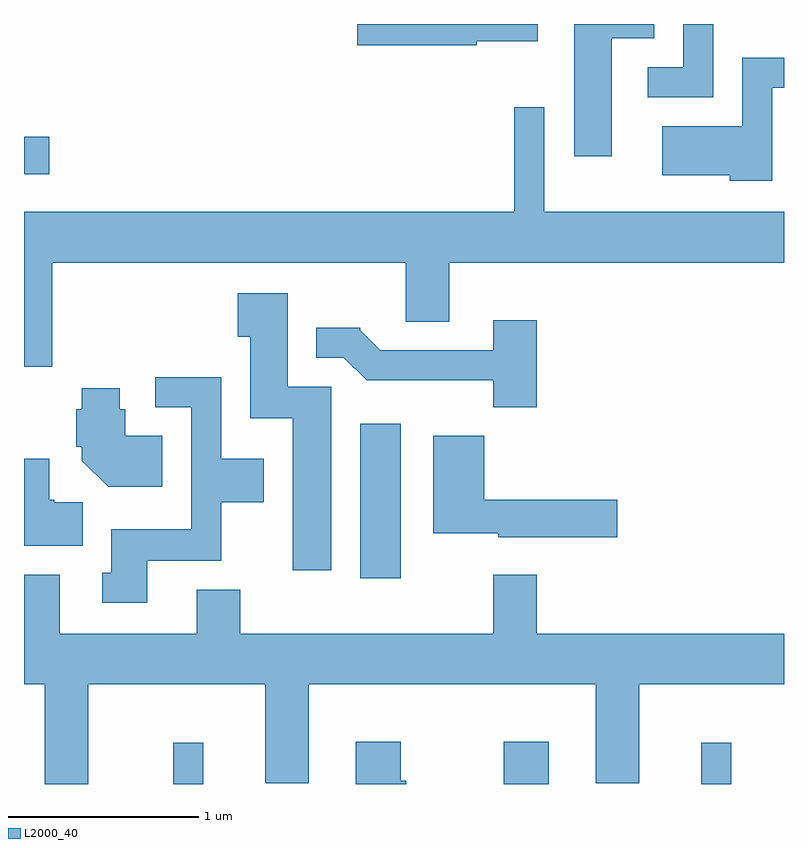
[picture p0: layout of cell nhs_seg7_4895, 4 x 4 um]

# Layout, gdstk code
import gdstk
lib = gdstk.Library(unit=1e-6, precision=1e-09)
def R(c, l, rs):  # rectangles x0, y0, x1, y1
    for r in rs: c.add(gdstk.rectangle(r[:2], r[2:], *l))
def P(c, l, *ps):  # polygons
    for p in ps: c.add(gdstk.Polygon(p, *l))
L2000_40 = (2000, 40)

nhs_seg7_4895 = lib.new_cell('nhs_seg7_4895')
R(nhs_seg7_4895, L2000_40, [(336.396,1698.252,336.554,1698.468), (338.136,1698.252,338.374,1698.474), (339.176,1698.252,339.334,1698.468), (337.381,1699.336,337.594,1700.149), (335.611,1701.461,335.744,1701.659)])
P(nhs_seg7_4895, L2000_40, [(338.704,1702.176),(338.929,1702.176),(338.929,1702.252),(338.506,1702.252),(338.506,1701.556),(338.704,1701.556)],
  [(337.994,1702.161),(338.314,1702.161),(338.314,1702.252),(337.366,1702.252),(337.366,1702.141),(337.994,1702.141)],
  [(339.239,1702.252),(339.081,1702.252),(339.081,1702.024),(338.893,1702.024),(338.893,1701.866),(339.239,1701.866)],
  [(339.549,1701.916),(339.611,1701.916),(339.611,1702.074),(339.391,1702.074),(339.391,1701.714),(338.971,1701.714),(338.971,1701.456),(339.326,1701.456),(339.326,1701.426),(339.549,1701.426)],
  [(335.759,1700.996),(337.621,1700.996),(337.621,1700.686),(337.849,1700.686),(337.849,1700.996),(339.611,1700.996),(339.611,1701.264),(338.349,1701.264),(338.349,1701.813),(338.191,1701.813),(338.191,1701.264),(335.611,1701.264),(335.611,1700.448),(335.759,1700.448)],
  [(337.229,1700.344),(336.999,1700.344),(336.999,1700.834),(336.736,1700.834),(336.736,1700.606),(336.801,1700.606),(336.801,1700.176),(337.026,1700.176),(337.026,1699.376),(337.229,1699.376)],
  [(338.309,1700.694),(338.081,1700.694),(338.081,1700.534),(337.487,1700.534),(337.38,1700.641),(337.38,1700.654),(337.148,1700.654),(337.148,1700.496),(337.294,1700.496),(337.414,1700.376),(338.081,1700.376),(338.081,1700.236),(338.309,1700.236)],
  [(336.259,1699.426),(336.649,1699.426),(336.649,1699.736),(336.874,1699.736),(336.874,1699.964),(336.649,1699.964),(336.649,1700.394),(336.303,1700.394),(336.303,1700.236),(336.491,1700.236),(336.491,1699.594),(336.071,1699.594),(336.071,1699.364),(336.023,1699.364),(336.023,1699.206),(336.259,1699.206)],
  [(336.339,1700.084),(336.144,1700.084),(336.144,1700.224),(336.114,1700.224),(336.114,1700.334),(335.916,1700.334),(335.916,1700.224),(335.886,1700.224),(335.886,1700.026),(335.916,1700.026),(335.916,1699.954),(336.054,1699.816),(336.339,1699.816)],
  [(338.734,1699.749),(338.034,1699.749),(338.034,1700.084),(337.766,1700.084),(337.766,1699.571),(338.106,1699.571),(338.106,1699.551),(338.734,1699.551)],
  [(335.919,1699.734),(335.77,1699.734),(335.77,1699.749),(335.744,1699.749),(335.744,1699.964),(335.611,1699.964),(335.611,1699.506),(335.919,1699.506)],
  [(335.949,1698.776),(336.881,1698.776),(336.881,1698.256),(337.109,1698.256),(337.109,1698.776),(338.621,1698.776),(338.621,1698.256),(338.849,1698.256),(338.849,1698.776),(339.611,1698.776),(339.611,1699.044),(338.309,1699.044),(338.309,1699.354),(338.081,1699.354),(338.081,1699.044),(336.749,1699.044),(336.749,1699.274),(336.521,1699.274),(336.521,1699.044),(335.799,1699.044),(335.799,1699.354),(335.611,1699.354),(335.611,1698.776),(335.721,1698.776),(335.721,1698.252),(335.949,1698.252)],
  [(337.624,1698.269),(337.594,1698.269),(337.594,1698.474),(337.356,1698.474),(337.356,1698.252),(337.624,1698.252)])

lib.write_gds('nhs_seg7_4895.gds')
